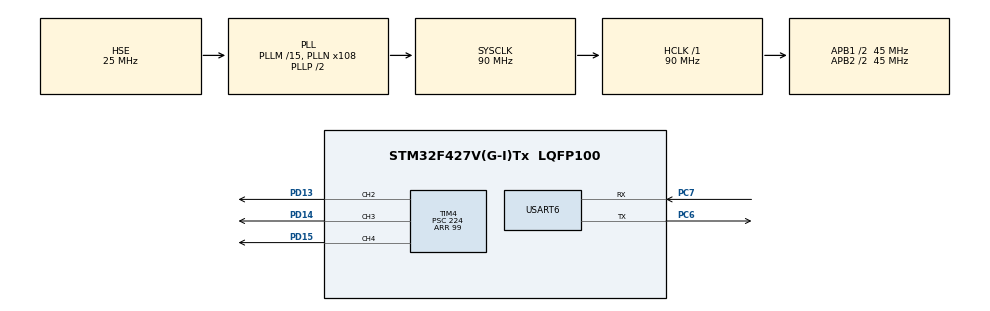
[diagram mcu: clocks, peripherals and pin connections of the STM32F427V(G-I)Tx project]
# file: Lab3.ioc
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Mcu.Family=STM32F4
Mcu.Name=STM32F427V(G-I)Tx
Mcu.Package=LQFP100
NVIC.PriorityGroup=NVIC_PRIORITYGROUP_4
NVIC.USART6_IRQn=true\:0\:0\:false\:false\:true\:true\:true\:true
PC6.Mode=Asynchronous
PC6.Signal=USART6_TX
PC7.Mode=Asynchronous
PC7.Signal=USART6_RX
PD13.Signal=S_TIM4_CH2
PD14.Signal=S_TIM4_CH3
PD15.Signal=S_TIM4_CH4
PH0/OSC_IN.Mode=HSE-External-Oscillator
PH0/OSC_IN.Signal=RCC_OSC_IN
PH1/OSC_OUT.Mode=HSE-External-Oscillator
PH1/OSC_OUT.Signal=RCC_OSC_OUT
ProjectManager.HeapSize=0x200
ProjectManager.StackSize=0x400
ProjectManager.TargetToolchain=Makefile
RCC.48MHZClocksFreq_Value=45000000
RCC.AHBFreq_Value=90000000
RCC.APB1CLKDivider=RCC_HCLK_DIV2
RCC.APB1Freq_Value=45000000
RCC.APB1TimFreq_Value=90000000
RCC.APB2CLKDivider=RCC_HCLK_DIV2
RCC.APB2Freq_Value=45000000
RCC.APB2TimFreq_Value=90000000
RCC.CortexFreq_Value=90000000
RCC.HCLKFreq_Value=90000000
RCC.HSE_VALUE=25000000
RCC.HSI_VALUE=16000000
RCC.LSE_VALUE=32768
RCC.PLLM=15
RCC.PLLN=108
RCC.PLLSourceVirtual=RCC_PLLSOURCE_HSE
RCC.SYSCLKFreq_VALUE=90000000
RCC.SYSCLKSource=RCC_SYSCLKSOURCE_PLLCLK
RCC.VCOOutputFreq_Value=180000000
SH.S_TIM4_CH2.0=TIM4_CH2,PWM Generation2 CH2
SH.S_TIM4_CH3.0=TIM4_CH3,PWM Generation3 CH3
SH.S_TIM4_CH4.0=TIM4_CH4,PWM Generation4 CH4
TIM4.Channel-PWM\ Generation2\ CH2=TIM_CHANNEL_2
TIM4.Channel-PWM\ Generation3\ CH3=TIM_CHANNEL_3
TIM4.Channel-PWM\ Generation4\ CH4=TIM_CHANNEL_4
TIM4.Period=99
TIM4.Prescaler=224
TIM6.Period=999
TIM6.Prescaler=1999
USART6.VirtualMode=VM_ASYNC
VP_TIM6_VS_ClockSourceINT.Mode=Enable_Timer
board=custom

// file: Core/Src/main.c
/* USER CODE BEGIN Header */
/**
  ******************************************************************************
  * @file           : main.c
  * @brief          : Main program body
  ******************************************************************************
  * @attention
  *
  * Copyright (c) 2024 STMicroelectronics.
  * All rights reserved.
  *
  * This software is licensed under terms that can be found in the LICENSE file
  * in the root directory of this software component.
  * If no LICENSE file comes with this software, it is provided AS-IS.
  *
  ******************************************************************************
  */
/* USER CODE END Header */
#include "main.h"

TIM_HandleTypeDef htim4;
TIM_HandleTypeDef htim6;

UART_HandleTypeDef huart6;

void SystemClock_Config(void);
static void MX_GPIO_Init(void);
static void MX_TIM4_Init(void);
static void MX_USART6_UART_Init(void);
static void MX_TIM6_Init(void);

/* USER CODE BEGIN 0 */
struct Mode
{
  int greenPulse;
  int greenMod;
  int yellowPulse;
  int yellowMod;
  int redPulse;
  int redMod;
};

int mode_index = 0;
struct Mode modes[] = {
  {
    0, 200,
    100, 200,
    0, 0
  },
  {
    0, 400,
    0, 0,
    200, 400
  },
  {
    0, 600,
    200, 600,
    400, 600
  },
  {
    0, 200,
    0, 200,
    100, 200
  },
  {}
};
size_t modes_length = sizeof(modes) / sizeof(modes[0]);

struct Mode current, custom;

int speed = 5;

void HAL_TIM_PeriodElapsedCallback(TIM_HandleTypeDef *htim) {
  if (htim->Instance == TIM6) {
    current.greenPulse = (current.greenPulse + speed) % current.greenMod;
    current.yellowPulse = (current.yellowPulse + speed) % current.yellowMod;
    current.redPulse = (current.redPulse + speed) % current.redMod;

    if (current.greenPulse > 200) {
      htim4.Instance->CCR2 = 0;
    } else {
      htim4.Instance->CCR2 = current.greenPulse <= 100 ? current.greenPulse : 200 - current.greenPulse;
    }
    if (current.yellowPulse > 200) {
      htim4.Instance->CCR3 = 0;
    } else {
      htim4.Instance->CCR3 = current.yellowPulse <= 100 ? current.yellowPulse : 200 - current.yellowPulse;
    }
    if (current.redPulse > 200) {
      htim4.Instance->CCR4 = 0;
    } else {
      htim4.Instance->CCR4 = current.redPulse <= 100 ? current.redPulse : 200 - current.redPulse;
    }
  }
}

_Bool is_main_menu = 1;
int custom_mode_parameter_num = 0;

void Handler(uint8_t *buf) {
  int32_t receivedNumber = 0;

  if (strlen(buf) == 0) {
    is_main_menu = 0;
    custom_mode_parameter_num = 0;
    sprintf(buf, "Enter green start phase: ");
    HAL_UART_Transmit(&huart6, (uint8_t*)buf, strlen(buf), HAL_MAX_DELAY);
    return;
  }
  receivedNumber = atoi((char*)buf);
  if (!is_main_menu) {
    switch (custom_mode_parameter_num)
    {
    case 0:
      current.greenPulse = receivedNumber;
      sprintf(buf, "Enter green mod: ");
      HAL_UART_Transmit(&huart6, (uint8_t*)buf, strlen(buf), HAL_MAX_DELAY);
      break;
    case 1:
      current.greenMod = receivedNumber;
      sprintf(buf, "Enter yellow start phase: ");
      HAL_UART_Transmit(&huart6, (uint8_t*)buf, strlen(buf), HAL_MAX_DELAY);
      break;
    case 2:
      current.yellowPulse = receivedNumber;
      sprintf(buf, "Enter yellow mod: ");
      HAL_UART_Transmit(&huart6, (uint8_t*)buf, strlen(buf), HAL_MAX_DELAY);
      break;
    case 3:
      current.yellowMod = receivedNumber;
      sprintf(buf, "Enter red start phase: ");
      HAL_UART_Transmit(&huart6, (uint8_t*)buf, strlen(buf), HAL_MAX_DELAY);
      break;
    case 4:
      current.redPulse = receivedNumber;
      sprintf(buf, "Enter red mod: ");
      HAL_UART_Transmit(&huart6, (uint8_t*)buf, strlen(buf), HAL_MAX_DELAY);
      break;
    case 5:
      current.redMod = receivedNumber;
      sprintf(buf, "Custom mode:\nGreen: %d, %d\nYellow: %d, %d\nRed: %d, %d\n",
        current.greenPulse, current.greenMod, current.yellowPulse, current.yellowMod,
        current.redPulse, current.redMod);
      HAL_UART_Transmit(&huart6, (uint8_t*)buf, strlen(buf), HAL_MAX_DELAY);
      custom_mode_parameter_num = 0;
      is_main_menu = 1;
      return;
    }
    custom_mode_parameter_num++;
    return;
  }

  switch (receivedNumber)
  {
  case 1:
    mode_index = (mode_index + 1) % modes_length;
    current = modes[mode_index];
    sprintf(buf, "Current mode: %d\n", mode_index + 1);
    HAL_UART_Transmit(&huart6, (uint8_t*)buf, strlen(buf), HAL_MAX_DELAY);
    break;
  case 2:
    mode_index = (modes_length + mode_index - 1) % modes_length;
    sprintf(buf, "Current mode: %d\n", mode_index + 1);
    HAL_UART_Transmit(&huart6, (uint8_t*)buf, strlen(buf), HAL_MAX_DELAY);
    current = modes[mode_index];
    break;
  case 3:
    speed++;
    if (speed > 10) {
      speed = 10;
    }
    sprintf(buf, "Current speed: %d\n", speed);
    HAL_UART_Transmit(&huart6, (uint8_t*)buf, strlen(buf), HAL_MAX_DELAY);
    break;
  case 4:
    speed--;
    if (speed < 1) {
      speed = 1;
    }
    sprintf(buf, "Current speed: %d\n", speed);
    HAL_UART_Transmit(&huart6, (uint8_t*)buf, strlen(buf), HAL_MAX_DELAY);
    break;
  case 5:
    sprintf(buf, "Custom mode:\nGreen: pulse = %d, mod = %d\nYellow: pulse = %d, mod = %d\nRed: pulse = %d, mod = %d\n",
      custom.greenPulse, custom.greenMod, custom.yellowPulse, custom.yellowMod, custom.redPulse, custom.redMod);
    HAL_UART_Transmit(&huart6, (uint8_t*)buf, strlen(buf), HAL_MAX_DELAY);
    break;
  default:
    sprintf(buf, "Unknown parameter\n");
    HAL_UART_Transmit(&huart6, (uint8_t*)buf, strlen(buf), HAL_MAX_DELAY);
    break;
  }
}

#define BUFFER_SIZE 150

uint8_t receivedData[BUFFER_SIZE];
uint8_t byte = 0;
uint16_t idx = 0;
/* USER CODE END 0 */

int main(void)
{

  /* MCU Configuration--------------------------------------------------------*/

  /* Reset of all peripherals, Initializes the Flash interface and the Systick. */
  HAL_Init();

  /* Configure the system clock */
  SystemClock_Config();

  /* Initialize all configured peripherals */
  MX_GPIO_Init();
  MX_TIM4_Init();
  MX_USART6_UART_Init();
  MX_TIM6_Init();

  /* Infinite loop */
  /* USER CODE BEGIN WHILE */
  HAL_TIM_Base_Start_IT(&htim6);
  HAL_TIM_PWM_Start(&htim4, TIM_CHANNEL_2);
  HAL_TIM_PWM_Start(&htim4, TIM_CHANNEL_3);
  HAL_TIM_PWM_Start(&htim4, TIM_CHANNEL_4);

  current = modes[mode_index];
  custom = modes[modes_length - 1];

  while (1)
  {
    if (HAL_UART_Receive(&huart6, &byte, 1, HAL_MAX_DELAY) == HAL_OK) {
      if (byte == '\n' || byte == '\r') {
          receivedData[idx] = '\0';

          Handler(receivedData);

          idx = 0;
          memset(receivedData, 0, BUFFER_SIZE);
      } else if (idx < BUFFER_SIZE - 1) {
          receivedData[idx++] = byte;
      }
    }
    /* USER CODE END WHILE */

  }
}

void SystemClock_Config(void)
{
  RCC_OscInitTypeDef RCC_OscInitStruct = {0};
  RCC_ClkInitTypeDef RCC_ClkInitStruct = {0};

  /** Configure the main internal regulator output voltage
  */
  __HAL_RCC_PWR_CLK_ENABLE();
  __HAL_PWR_VOLTAGESCALING_CONFIG(PWR_REGULATOR_VOLTAGE_SCALE3);

  /** Initializes the RCC Oscillators according to the specified parameters
  * in the RCC_OscInitTypeDef structure.
  */
  RCC_OscInitStruct.OscillatorType = RCC_OSCILLATORTYPE_HSE;
  RCC_OscInitStruct.HSEState = RCC_HSE_ON;
  RCC_OscInitStruct.PLL.PLLState = RCC_PLL_ON;
  RCC_OscInitStruct.PLL.PLLSource = RCC_PLLSOURCE_HSE;
  RCC_OscInitStruct.PLL.PLLM = 15;
  RCC_OscInitStruct.PLL.PLLN = 108;
  RCC_OscInitStruct.PLL.PLLP = RCC_PLLP_DIV2;
  RCC_OscInitStruct.PLL.PLLQ = 4;
  if (HAL_RCC_OscConfig(&RCC_OscInitStruct) != HAL_OK)
  {
    Error_Handler();
  }

  /** Activate the Over-Drive mode
  */
  if (HAL_PWREx_EnableOverDrive() != HAL_OK)
  {
    Error_Handler();
  }

  /** Initializes the CPU, AHB and APB buses clocks
  */
  RCC_ClkInitStruct.ClockType = RCC_CLOCKTYPE_HCLK|RCC_CLOCKTYPE_SYSCLK
                              |RCC_CLOCKTYPE_PCLK1|RCC_CLOCKTYPE_PCLK2;
  RCC_ClkInitStruct.SYSCLKSource = RCC_SYSCLKSOURCE_PLLCLK;
  RCC_ClkInitStruct.AHBCLKDivider = RCC_SYSCLK_DIV1;
  RCC_ClkInitStruct.APB1CLKDivider = RCC_HCLK_DIV2;
  RCC_ClkInitStruct.APB2CLKDivider = RCC_HCLK_DIV2;

  if (HAL_RCC_ClockConfig(&RCC_ClkInitStruct, FLASH_LATENCY_2) != HAL_OK)
  {
    Error_Handler();
  }
}

static void MX_TIM4_Init(void)
{

  TIM_MasterConfigTypeDef sMasterConfig = {0};
  TIM_OC_InitTypeDef sConfigOC = {0};

  htim4.Instance = TIM4;
  htim4.Init.Prescaler = 224;
  htim4.Init.CounterMode = TIM_COUNTERMODE_UP;
  htim4.Init.Period = 99;
  htim4.Init.ClockDivision = TIM_CLOCKDIVISION_DIV1;
  htim4.Init.AutoReloadPreload = TIM_AUTORELOAD_PRELOAD_DISABLE;
  if (HAL_TIM_PWM_Init(&htim4) != HAL_OK)
  {
    Error_Handler();
  }
  sMasterConfig.MasterOutputTrigger = TIM_TRGO_RESET;
  sMasterConfig.MasterSlaveMode = TIM_MASTERSLAVEMODE_DISABLE;
  if (HAL_TIMEx_MasterConfigSynchronization(&htim4, &sMasterConfig) != HAL_OK)
  {
    Error_Handler();
  }
  sConfigOC.OCMode = TIM_OCMODE_PWM1;
  sConfigOC.Pulse = 0;
  sConfigOC.OCPolarity = TIM_OCPOLARITY_HIGH;
  sConfigOC.OCFastMode = TIM_OCFAST_DISABLE;
  if (HAL_TIM_PWM_ConfigChannel(&htim4, &sConfigOC, TIM_CHANNEL_2) != HAL_OK)
  {
    Error_Handler();
  }
  if (HAL_TIM_PWM_ConfigChannel(&htim4, &sConfigOC, TIM_CHANNEL_3) != HAL_OK)
  {
    Error_Handler();
  }
  if (HAL_TIM_PWM_ConfigChannel(&htim4, &sConfigOC, TIM_CHANNEL_4) != HAL_OK)
  {
    Error_Handler();
  }
  HAL_TIM_MspPostInit(&htim4);

}

static void MX_TIM6_Init(void)
{

  TIM_MasterConfigTypeDef sMasterConfig = {0};

  htim6.Instance = TIM6;
  htim6.Init.Prescaler = 1999;
  htim6.Init.CounterMode = TIM_COUNTERMODE_UP;
  htim6.Init.Period = 999;
  htim6.Init.AutoReloadPreload = TIM_AUTORELOAD_PRELOAD_DISABLE;
  if (HAL_TIM_Base_Init(&htim6) != HAL_OK)
  {
    Error_Handler();
  }
  sMasterConfig.MasterOutputTrigger = TIM_TRGO_RESET;
  sMasterConfig.MasterSlaveMode = TIM_MASTERSLAVEMODE_DISABLE;
  if (HAL_TIMEx_MasterConfigSynchronization(&htim6, &sMasterConfig) != HAL_OK)
  {
    Error_Handler();
  }

}

static void MX_USART6_UART_Init(void)
{

  huart6.Instance = USART6;
  huart6.Init.BaudRate = 115200;
  huart6.Init.WordLength = UART_WORDLENGTH_8B;
  huart6.Init.StopBits = UART_STOPBITS_1;
  huart6.Init.Parity = UART_PARITY_NONE;
  huart6.Init.Mode = UART_MODE_TX_RX;
  huart6.Init.HwFlowCtl = UART_HWCONTROL_NONE;
  huart6.Init.OverSampling = UART_OVERSAMPLING_16;
  if (HAL_UART_Init(&huart6) != HAL_OK)
  {
    Error_Handler();
  }

}

static void MX_GPIO_Init(void)
{

  /* GPIO Ports Clock Enable */
  __HAL_RCC_GPIOH_CLK_ENABLE();
  __HAL_RCC_GPIOD_CLK_ENABLE();
  __HAL_RCC_GPIOC_CLK_ENABLE();

}

void Error_Handler(void)
{
  __disable_irq();
  while (1)
  {
  }
}
